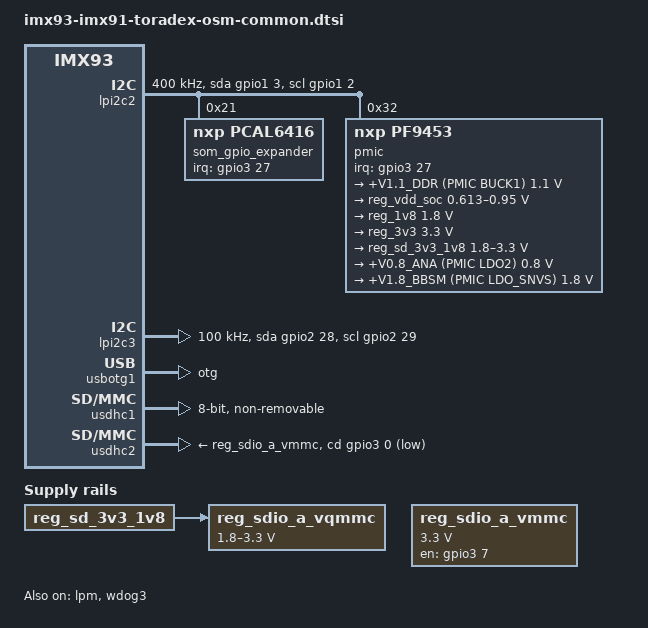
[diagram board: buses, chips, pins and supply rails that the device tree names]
// SPDX-License-Identifier: GPL-2.0-or-later OR MIT
/*
 * Copyright (C) 2025 Toradex
 *
 * Toradex OSM iMX93/iMX91 SoM
 *
 * https://www.toradex.com/computer-on-modules/osm-arm-family/nxp-imx93
 * https://www.toradex.com/computer-on-modules/osm-arm-family/nxp-imx91
 */

#include <dt-bindings/gpio/gpio.h>
#include <dt-bindings/interrupt-controller/irq.h>

/ {
	aliases {
		i2c0 = &lpi2c2;
		i2c1 = &lpi2c3;
		ethernet0 = &eqos;
		mmc0 = &usdhc1;
		mmc1 = &usdhc2;
		serial0 = &lpuart1;
	};

	chosen {
		stdout-path = &lpuart1;
	};

	reserved-memory {
		#address-cells = <2>;
		#size-cells = <2>;
		ranges;

		ele_reserved: memory@87d00000 {
			compatible = "shared-dma-pool";
			reg = <0 0x87d00000 0 0x100000>;
			no-map;
		};
	};

	reg_sdio_a_vmmc: regulator-sdhci2-vmmc {
		compatible = "regulator-fixed";
		pinctrl-names = "default";
		pinctrl-0 = <&pinctrl_sdio_a_pwr_en>;
		/* OSM SDIO_A_PWR_EN (OSM D21) */
		gpios = <&gpio3 7 GPIO_ACTIVE_HIGH>;
		enable-active-high;
		off-on-delay-us = <100000>;
		regulator-max-microvolt = <3300000>;
		regulator-min-microvolt = <3300000>;
		regulator-name = "SDIO_A_PWR_EN";
		startup-delay-us = <20000>;
	};

	reg_sdio_a_vqmmc: regulator-sdhci2-vqmmc {
		compatible = "regulator-gpio";
		pinctrl-names = "default";
		pinctrl-0 = <&pinctrl_sdio_a_vsel>;
		/* PMIC_SD_2_VSEL */
		gpios = <&gpio3 19 GPIO_ACTIVE_HIGH>;
		regulator-max-microvolt = <3300000>;
		regulator-min-microvolt = <1800000>;
		regulator-name = "LDO1-VSEL-SD (PMIC)";
		states = <1800000 0x1>,
			 <3300000 0x0>;
		vin-supply = <&reg_sd_3v3_1v8>;
	};
};

&ele_fw2 {
	memory-region = <&ele_reserved>;
};

/* OSM ETH_A */
&eqos {
	pinctrl-names = "default";
	pinctrl-0 = <&pinctrl_mdio>, <&pinctrl_eth_a>;

	mdio: mdio {
		compatible = "snps,dwmac-mdio";
		#address-cells = <1>;
		#size-cells = <0>;
		status = "disabled";
	};
};

/* On-module I2C - PMIC_I2C */
&lpi2c2 {
	pinctrl-names = "default", "gpio";
	pinctrl-0 = <&pinctrl_pmic_i2c>, <&pinctrl_ctrl_int>;
	pinctrl-1 = <&pinctrl_pmic_i2c_gpio>, <&pinctrl_ctrl_int>;
	#address-cells = <1>;
	#size-cells = <0>;
	clock-frequency = <400000>;
	scl-gpios = <&gpio1 2 (GPIO_ACTIVE_HIGH | GPIO_OPEN_DRAIN)>;
	sda-gpios = <&gpio1 3 (GPIO_ACTIVE_HIGH | GPIO_OPEN_DRAIN)>;
	single-master;
	status = "okay";

	som_gpio_expander: gpio@21 {
		compatible = "nxp,pcal6416";
		reg = <0x21>;
		#interrupt-cells = <2>;
		interrupt-controller;
		interrupt-parent = <&gpio3>;
		interrupts = <27 IRQ_TYPE_LEVEL_LOW>;
		#gpio-cells = <2>;
		gpio-controller;
		gpio-line-names =
			"OSM_D19", /* OSM GPIO_B_0 */
			"OSM_E19", /* OSM GPIO_B_1 */
			"OSM_F19", /* OSM GPIO_B_2 */
			"OSM_G19", /* OSM GPIO_B_3 */
			"OSM_H19", /* OSM GPIO_B_4 */
			"OSM_J19", /* OSM GPIO_B_5 */
			"OSM_K19", /* OSM GPIO_B_6 */
			"OSM_L19", /* OSM GPIO_B_7 */
			"OSM_D3",  /* OSM GPIO_C_0 */
			"OSM_D4",  /* OSM GPIO_C_1 */
			"OSM_E3",  /* OSM GPIO_C_2/CAM_B_PWR   */
			"OSM_E4",  /* OSM GPIO_C_3/CAM_B_RST#  */
			"OSM_F3",  /* OSM GPIO_C_4/DISP_VDD_EN */
			"OSM_F4",  /* OSM GPIO_C_5/DISP_BL_EN  */
			"OSM_G3",  /* OSM GPIO_C_6/CAM_A_PWR   */
			"OSM_G4";  /* OSM GPIO_C_7/CAM_A_RST#  */
	};

	pmic@32 {
		compatible = "nxp,pf9453";
		reg = <0x32>;
		interrupt-parent = <&gpio3>;
		interrupts = <27 IRQ_TYPE_LEVEL_LOW>;

		regulators {
			BUCK1 {
				regulator-always-on;
				regulator-boot-on;
				regulator-name = "+V1.1_DDR (PMIC BUCK1)";
				regulator-max-microvolt = <1100000>;
				regulator-min-microvolt = <1100000>;
			};

			reg_vdd_soc: BUCK2 {
				regulator-always-on;
				regulator-boot-on;
				regulator-name = "+VDD_SOC (PMIC BUCK2)";
				regulator-max-microvolt = <950000>;
				regulator-min-microvolt = <612500>;
				regulator-ramp-delay = <12500>;
			};

			reg_1v8: BUCK3 {
				regulator-always-on;
				regulator-boot-on;
				regulator-name = "+V1.8 / +V1.8_ANA (PMIC BUCK3)";
				regulator-max-microvolt = <1800000>;
				regulator-min-microvolt = <1800000>;
			};

			reg_3v3: BUCK4 {
				regulator-always-on;
				regulator-boot-on;
				regulator-name = "+V3.3 (PMIC BUCK4)";
				regulator-max-microvolt = <3300000>;
				regulator-min-microvolt = <3300000>;
			};

			reg_sd_3v3_1v8: LDO1 {
				regulator-always-on;
				regulator-boot-on;
				regulator-name = "+V3.3_1.8_SD (PMIC LDO1)";
				regulator-max-microvolt = <3300000>;
				regulator-min-microvolt = <1800000>;
			};

			LDO2 {
				regulator-always-on;
				regulator-boot-on;
				regulator-name = "+V0.8_ANA (PMIC LDO2)";
				regulator-max-microvolt = <800000>;
				regulator-min-microvolt = <800000>;
			};

			LDO_SNVS {
				regulator-always-on;
				regulator-boot-on;
				regulator-name = "+V1.8_BBSM (PMIC LDO_SNVS)";
				regulator-max-microvolt = <1800000>;
				regulator-min-microvolt = <1800000>;
			};
		};
	};

};

/* OSM I2C_A */
&lpi2c3 {
	pinctrl-names = "default", "gpio";
	pinctrl-0 = <&pinctrl_i2c_a>;
	pinctrl-1 = <&pinctrl_i2c_a_gpio>;
	#address-cells = <1>;
	#size-cells = <0>;
	clock-frequency = <100000>;
	scl-gpios = <&gpio2 29 (GPIO_ACTIVE_HIGH | GPIO_OPEN_DRAIN)>;
	sda-gpios = <&gpio2 28 (GPIO_ACTIVE_HIGH | GPIO_OPEN_DRAIN)>;
	single-master;
};

&lpm {
	soc-supply = <&reg_vdd_soc>;
	status = "okay";
};

/* OSM UART_CON, used as the Linux Console */
&lpuart1 {
	pinctrl-names = "default";
	pinctrl-0 = <&pinctrl_uart_con>;
};

/* OSM USB_A */
&usbotg1 {
	dr_mode = "otg";
	adp-disable;
	hnp-disable;
	srp-disable;
	usb-role-switch;
	disable-over-current;
	role-switch-default-mode = "peripheral";
	samsung,picophy-dc-vol-level-adjust = <7>;
	samsung,picophy-pre-emp-curr-control = <3>;
};

/* On-module eMMC */
&usdhc1 {
	pinctrl-names = "default", "state_100mhz", "state_200mhz";
	pinctrl-0 = <&pinctrl_emmc>;
	pinctrl-1 = <&pinctrl_emmc>;
	pinctrl-2 = <&pinctrl_emmc>;
	bus-width = <8>;
	non-removable;
	no-sdio;
	no-sd;
	status = "okay";
};

/* OSM SDIO_A */
&usdhc2 {
	pinctrl-names = "default", "state_100mhz", "state_200mhz";
	pinctrl-0 = <&pinctrl_sdio_a>, <&pinctrl_sdio_a_cd>;
	pinctrl-1 = <&pinctrl_sdio_a>, <&pinctrl_sdio_a_cd>;
	pinctrl-2 = <&pinctrl_sdio_a>, <&pinctrl_sdio_a_cd>;
	cd-gpios = <&gpio3 0 GPIO_ACTIVE_LOW>;
	disable-wp;
	vmmc-supply = <&reg_sdio_a_vmmc>;
	vqmmc-supply = <&reg_sdio_a_vqmmc>;
};

&wdog3 {
	pinctrl-names = "default";
	pinctrl-0 = <&pinctrl_wdog>;
	fsl,ext-reset-output;
	status = "okay";
};
